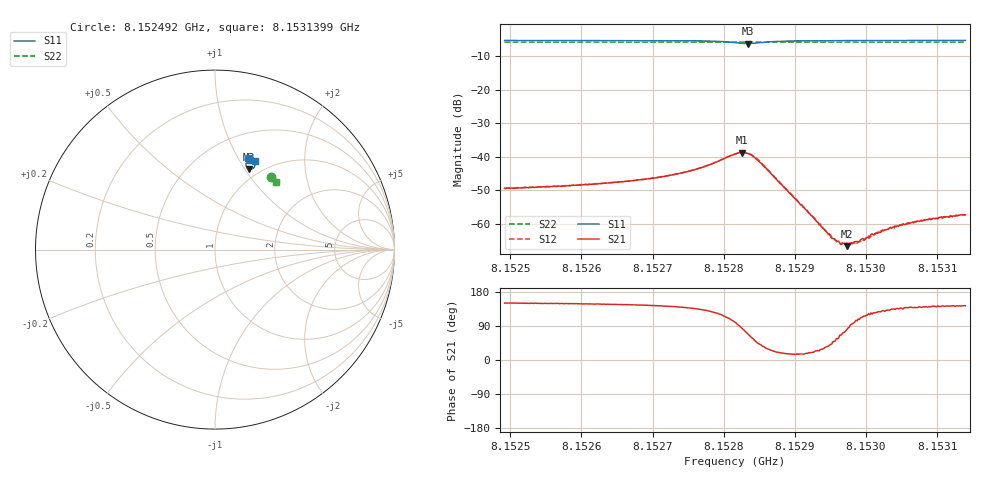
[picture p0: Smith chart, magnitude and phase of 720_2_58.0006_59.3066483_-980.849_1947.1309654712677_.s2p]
#  HZ  S  RI  R  50.00
! Rohde & Schwarz Vector Network Analyzer
! Rohde-Schwarz,ZNB20-2Port,1311601062101988,3.16
! Created: UTC 3/21/2024, 1:22:38 AM
! freq[Hz]  re:S11  im:S11  re:S21  im:S21  re:S12  im:S12  re:S22  im:S22
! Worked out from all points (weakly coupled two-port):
!   401 points, 8.152492 GHz to 8.1531399 GHz, reference 50 ohm
!   highest |S21| = -38.76 dB at 8.1528257 GHz (marker M1); lowest = -66.7 dB at 8.152973 GHz (marker M2)
!   lowest |S11| = -6.2 dB at 8.1528338 GHz (marker M3), VSWR 2.90, Z = 44.2 + j52.1 ohm
!   |S11| at or under -10 dB: nowhere
!   |S22| runs from -5.9 to -5.8 dB; largest |S21 - S12| = 0.00043
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8.15249201e9  0.1893 0.5063  -0.00293 0.00169  -0.00291 0.00175  0.3105 0.4059
8.15260052e9  0.1985 0.5026  -0.00323 0.002  -0.00325 0.00208  0.316 0.4015
8.15265721e9  0.2038 0.5  -0.0035 0.00237  -0.00351 0.00242  0.3189 0.3993
8.15270904e9  0.21 0.4962  -0.00397 0.00298  -0.0039 0.00304  0.3216 0.3971
8.15276249e9  0.2183 0.4876  -0.00461 0.00465  -0.00459 0.00474  0.324 0.3946
8.15281594e9  0.2142 0.4538  -0.00187 0.0108  -0.00174 0.0109  0.3259 0.3913
8.15282565e9  0.2008 0.4477  0.00126 0.0115  0.00111 0.0115  0.3257 0.3907
8.15283375e9  0.187 0.4497  0.00399 0.0105  0.00404 0.0105  0.3256 0.3906
8.15284185e9  0.1767 0.4586  0.00568 0.00823  0.00592 0.00841  0.3257 0.3908
8.15284995e9  0.1725 0.4697  0.00623 0.00566  0.00646 0.00587  0.3262 0.3911
8.15292445e9  0.1966 0.4983  0.00122 0.000444  0.00123 0.000423  0.3309 0.3888
8.15295036e9  0.2018 0.4985  0.000486 0.000426  0.000539 0.00042  0.3324 0.3876
8.15296008e9  0.2033 0.4983  0.000312 0.000456  0.000294 0.000447  0.3327 0.3872
8.15297304e9  0.2054 0.498  8.23e-05 0.000457  9.4e-05 0.00051  0.3334 0.3867
8.15298923e9  0.2075 0.4977  -0.000167 0.00051  -0.000145 0.000509  0.3342 0.3859
8.15300057e9  0.2088 0.4973  -0.000293 0.00054  -0.000265 0.00055  0.3347 0.3854
8.15301029e9  0.21 0.4971  -0.00039 0.000564  -0.000362 0.00058  0.3353 0.385
8.15302001e9  0.211 0.4969  -0.000441 0.000594  -0.00047 0.000615  0.3358 0.3846
8.15303296e9  0.2124 0.4965  -0.000566 0.000648  -0.000573 0.000641  0.3364 0.384
8.15305078e9  0.2142 0.496  -0.000707 0.000678  -0.000687 0.000659  0.3371 0.3832
8.15309289e9  0.2179 0.4947  -0.000918 0.000717  -0.000913 0.000761  0.3392 0.3816
8.15313986e9  0.2218 0.4934  -0.00109 0.000816  -0.00106 0.000839  0.3413 0.3794
